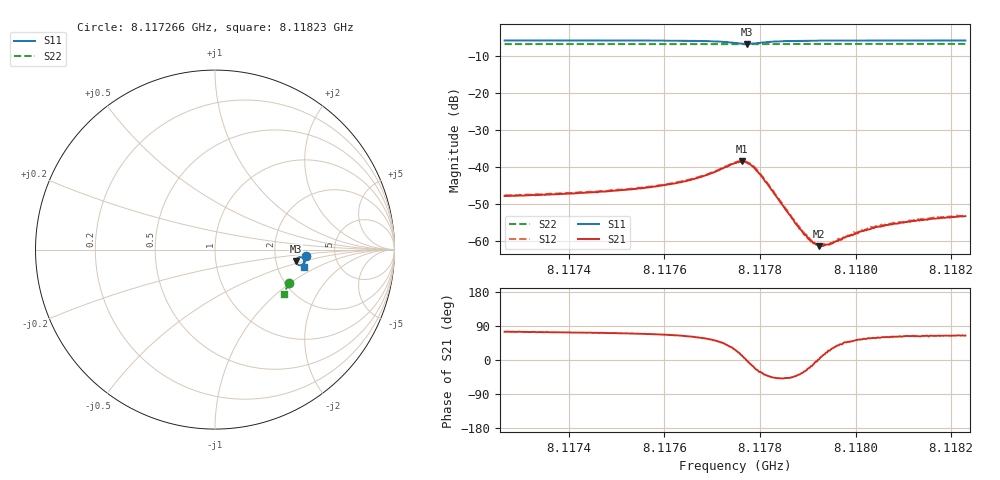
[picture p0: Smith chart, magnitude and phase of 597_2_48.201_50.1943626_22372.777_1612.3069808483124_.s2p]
#  HZ  S  RI  R  50.00
! Rohde & Schwarz Vector Network Analyzer
! Rohde-Schwarz,ZNB20-2Port,1311601062101988,3.16
! Created: UTC 3/20/2024, 12:02:50 PM
! freq[Hz]  re:S11  im:S11  re:S21  im:S21  re:S12  im:S12  re:S22  im:S22
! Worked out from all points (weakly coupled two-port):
!   401 points, 8.117266 GHz to 8.11823 GHz, reference 50 ohm
!   highest |S21| = -38.44 dB at 8.117762 GHz (marker M1); lowest = -61.2 dB at 8.117924 GHz (marker M2)
!   lowest |S11| = -6.8 dB at 8.117772 GHz (marker M3), VSWR 2.67, Z = 130 - j20.6 ohm
!   |S11| at or under -10 dB: nowhere
!   |S22| runs from -6.9 to -6.8 dB; largest |S21 - S12| = 0.00042
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8.1172661e9  0.505 -0.0363  0.00108 0.00394  0.00112 0.00403  0.4121 -0.1861
8.1174275e9  0.5032 -0.0501  0.00136 0.00429  0.00146 0.00439  0.4077 -0.1965
8.1175215e9  0.5014 -0.059  0.00168 0.00466  0.00174 0.00475  0.4052 -0.2026
8.1175889e9  0.4993 -0.0665  0.00214 0.00517  0.00225 0.00526  0.403 -0.207
8.1176419e9  0.4959 -0.0738  0.00289 0.00576  0.00294 0.00589  0.4013 -0.2106
8.1176757e9  0.4919 -0.0794  0.00382 0.00627  0.00391 0.00639  0.4 -0.2126
8.1177479e9  0.4614 -0.0839  0.0101 0.00516  0.0103 0.00528  0.3966 -0.2168
8.1177624e9  0.4523 -0.0734  0.0117 0.00246  0.0118 0.00234  0.3958 -0.217
8.117772e9  0.4508 -0.0629  0.0115 -0.000108  0.0118 -7.06e-05  0.3956 -0.217
8.1177841e9  0.456 -0.0503  0.00999 -0.00271  0.0103 -0.00284  0.3957 -0.2174
8.1177937e9  0.4638 -0.0442  0.00799 -0.00394  0.00833 -0.00407  0.3959 -0.2178
8.1178178e9  0.4816 -0.0434  0.00419 -0.00385  0.00429 -0.00396  0.3959 -0.2194
8.117878e9  0.4965 -0.0584  0.00125 -0.00107  0.00123 -0.00113  0.3944 -0.2237
8.1178949e9  0.4975 -0.0618  0.00106 -0.000589  0.00108 -0.000588  0.394 -0.2249
8.1179093e9  0.4981 -0.0644  0.000961 -0.000264  0.00103 -0.000228  0.3934 -0.2259
8.1179238e9  0.4986 -0.0666  0.000868 2.81e-05  0.000897 3.84e-05  0.3931 -0.2269
8.1179479e9  0.4988 -0.0702  0.000846 0.000436  0.000829 0.000438  0.3923 -0.2285
8.1179599e9  0.4988 -0.0719  0.000813 0.000604  0.000847 0.000634  0.3919 -0.2293
8.1180081e9  0.4987 -0.0776  0.000806 0.0011  0.000833 0.0011  0.3903 -0.2323
8.1180708e9  0.4981 -0.0839  0.000837 0.00147  0.000847 0.00149  0.3883 -0.2363
8.1181334e9  0.4974 -0.0896  0.000879 0.00169  0.000905 0.00175  0.386 -0.24
8.1182298e9  0.4959 -0.0978  0.000941 0.00198  0.000976 0.002  0.3825 -0.246
